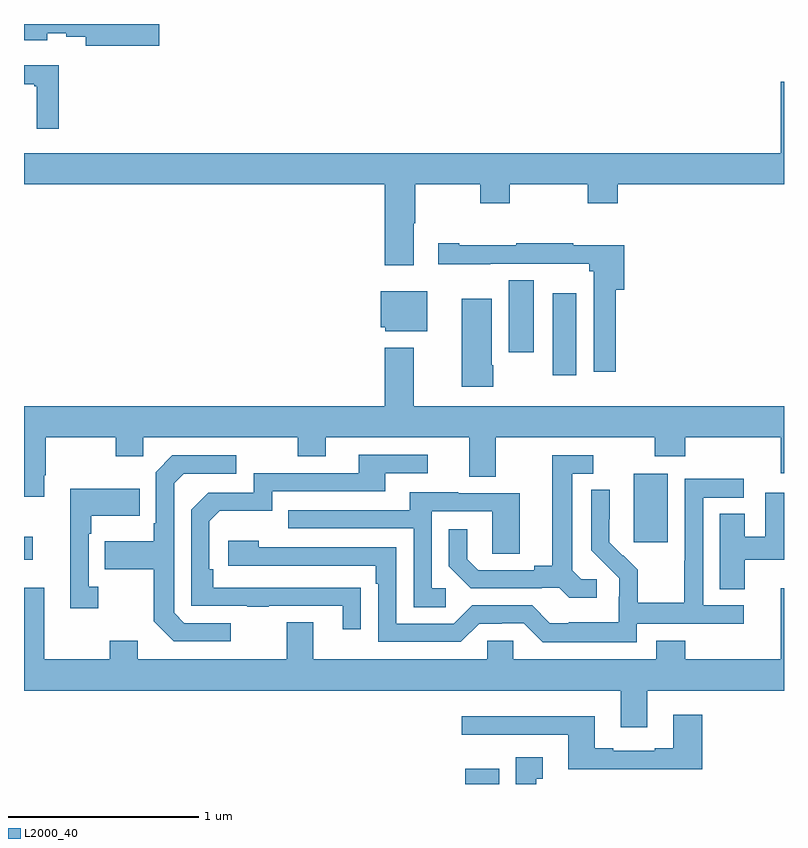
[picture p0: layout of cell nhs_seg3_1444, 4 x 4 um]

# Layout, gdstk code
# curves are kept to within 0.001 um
import gdstk
lib = gdstk.Library(unit=1e-6, precision=1e-09)
def R(c, l, rs):  # rectangles x0, y0, x1, y1
    for r in rs: c.add(gdstk.rectangle(r[:2], r[2:], *l))
def P(c, l, *ps):  # polygons
    for p in ps: c.add(gdstk.Polygon(p, *l))
L2000_40 = (2000, 40)

nhs_seg3_1444 = lib.new_cell('nhs_seg3_1444')
R(nhs_seg3_1444, L2000_40, [(187.322,724.4,187.501,724.48), (185,725.579,185.047,725.701), (188.21,725.673,188.389,726.034), (187.784,726.552,187.906,726.982), (187.55,726.672,187.684,727.052)])
P(nhs_seg3_1444, L2000_40, [(185.713,728.4),(185,728.4),(185,728.315),(185.122,728.315),(185.122,728.351),(185.223,728.351),(185.223,728.332),(185.324,728.332),(185.324,728.285),(185.713,728.285)],
  [(185.183,728.182),(185,728.182),(185,728.084),(185.055,728.084),(185.055,728.073),(185.066,728.073),(185.066,727.848),(185.183,727.848)],
  [(187.051,727.352),(187.059,727.352),(187.059,727.556),(187.402,727.556),(187.402,727.457),(187.557,727.457),(187.557,727.556),(187.966,727.556),(187.966,727.457),(188.126,727.457),(188.126,727.556),(189,727.556),(189,728.095),(188.984,728.095),(188.984,727.72),(185,727.72),(185,727.556),(186.899,727.556),(186.899,727.131),(187.051,727.131)],
  [(188.114,727.001),(188.159,727.001),(188.159,727.236),(187.892,727.236),(187.892,727.246),(187.591,727.246),(187.591,727.236),(187.291,727.236),(187.291,727.246),(187.179,727.246),(187.179,727.136),(187.454,727.136),(187.454,727.137),(187.976,727.137),(187.976,727.098),(187.998,727.098),(187.998,726.57),(188.114,726.57)],
  [(187.123,726.994),(186.878,726.994),(186.878,726.804),(186.9,726.804),(186.9,726.782),(187.123,726.782)],
  [(187.47,726.604),(187.462,726.604),(187.462,726.955),(187.304,726.955),(187.304,726.492),(187.47,726.492)],
  [(185.107,726.025),(185.115,726.025),(185.115,726.224),(185.482,726.224),(185.482,726.125),(185.628,726.125),(185.628,726.224),(186.442,726.224),(186.442,726.125),(186.589,726.125),(186.589,726.224),(187.343,726.224),(187.343,726.016),(187.483,726.016),(187.483,726.224),(188.32,726.224),(188.32,726.125),(188.48,726.125),(188.48,726.224),(188.984,726.224),(188.984,726.036),(189,726.036),(189,726.388),(187.051,726.388),(187.051,726.697),(186.899,726.697),(186.899,726.388),(185,726.388),(185,725.913),(185.107,725.913)],
  [(186.773,725.432),(185.996,725.433),(185.996,725.53),(185.976,725.53),(185.976,725.784),(186.029,725.837),(186.306,725.837),(186.306,725.94),(186.901,725.94),(186.901,726.036),(187.126,726.036),(187.126,726.132),(186.761,726.132),(186.761,726.036),(186.21,726.036),(186.21,725.934),(185.97,725.934),(185.88,725.844),(185.88,725.337),(186.175,725.337),(186.175,725.332),(186.287,725.332),(186.287,725.337),(186.677,725.337),(186.677,725.214),(186.773,725.214)],
  [(186.088,725.247),(185.844,725.247),(185.79,725.301),(185.79,725.982),(185.841,726.033),(186.118,726.033),(186.118,726.129),(185.781,726.129),(185.694,726.042),(185.694,725.773),(185.682,725.773),(185.682,725.677),(185.425,725.677),(185.425,725.53),(185.682,725.53),(185.682,725.257),(185.787,725.151),(186.088,725.151)],
  [(188.014,725.478),(187.932,725.478),(187.885,725.525),(187.885,726.033),(187.996,726.033),(187.996,726.129),(187.781,726.129),(187.781,725.549),(187.685,725.549),(187.685,725.526),(187.39,725.526),(187.333,725.583),(187.333,725.74),(187.236,725.74),(187.236,725.546),(187.352,725.43),(187.724,725.43),(187.724,725.433),(187.818,725.433),(187.87,725.381),(188.014,725.381)],
  [(188.226,725.244),(188.788,725.244),(188.788,725.34),(188.574,725.34),(188.574,725.907),(188.788,725.907),(188.788,726.006),(188.478,726.006),(188.478,725.576),(188.476,725.576),(188.476,725.353),(188.231,725.353),(188.231,725.527),(188.154,725.604),(188.151,725.601),(188.081,725.672),(188.082,725.948),(187.986,725.948),(187.986,725.63),(188.132,725.482),(188.132,725.385),(188.13,725.385),(188.13,725.251),(187.867,725.251),(187.867,725.247),(187.767,725.247),(187.674,725.34),(187.359,725.34),(187.263,725.244),(186.96,725.244),(186.96,725.646),(186.236,725.646),(186.236,725.68),(186.075,725.68),(186.075,725.55),(186.851,725.55),(186.851,725.453),(186.864,725.453),(186.864,725.148),(187.299,725.148),(187.395,725.244),(187.514,725.244),(187.514,725.247),(187.629,725.247),(187.729,725.147),(188.226,725.147)],
  [(185.392,725.438),(185.34,725.438),(185.34,725.717),(185.353,725.717),(185.353,725.813),(185.609,725.813),(185.609,725.953),(185.243,725.953),(185.243,725.325),(185.392,725.325)],
  [(187.219,725.43),(187.146,725.43),(187.146,725.835),(187.464,725.835),(187.464,725.611),(187.609,725.611),(187.609,725.931),(187.285,725.931),(187.285,725.935),(187.031,725.935),(187.031,725.841),(186.391,725.841),(186.391,725.745),(187.05,725.745),(187.05,725.329),(187.219,725.329)],
  [(188.794,725.579),(189,725.579),(189,725.932),(188.9,725.932),(188.9,725.701),(188.794,725.701),(188.794,725.822),(188.663,725.822),(188.663,725.425),(188.794,725.425)],
  [(188.281,724.892),(189,724.892),(189,725.431),(188.984,725.431),(188.984,725.056),(188.48,725.056),(188.48,725.155),(188.327,725.155),(188.327,725.056),(187.575,725.056),(187.575,725.154),(187.437,725.154),(187.437,725.056),(186.523,725.056),(186.523,725.251),(186.383,725.251),(186.383,725.056),(185.599,725.056),(185.599,725.155),(185.452,725.155),(185.452,725.056),(185.107,725.056),(185.107,725.434),(185,725.434),(185,724.892),(188.141,724.892),(188.141,724.698),(188.281,724.698)],
  [(188.57,724.765),(188.417,724.765),(188.417,724.588),(188.321,724.588),(188.321,724.575),(188.101,724.575),(188.101,724.588),(188.005,724.588),(188.005,724.756),(187.305,724.756),(187.305,724.659),(187.865,724.659),(187.865,724.478),(188.57,724.478)],
  [(187.696,724.427),(187.729,724.427),(187.729,724.54),(187.589,724.54),(187.589,724.4),(187.696,724.4)])

lib.write_gds('nhs_seg3_1444.gds')
